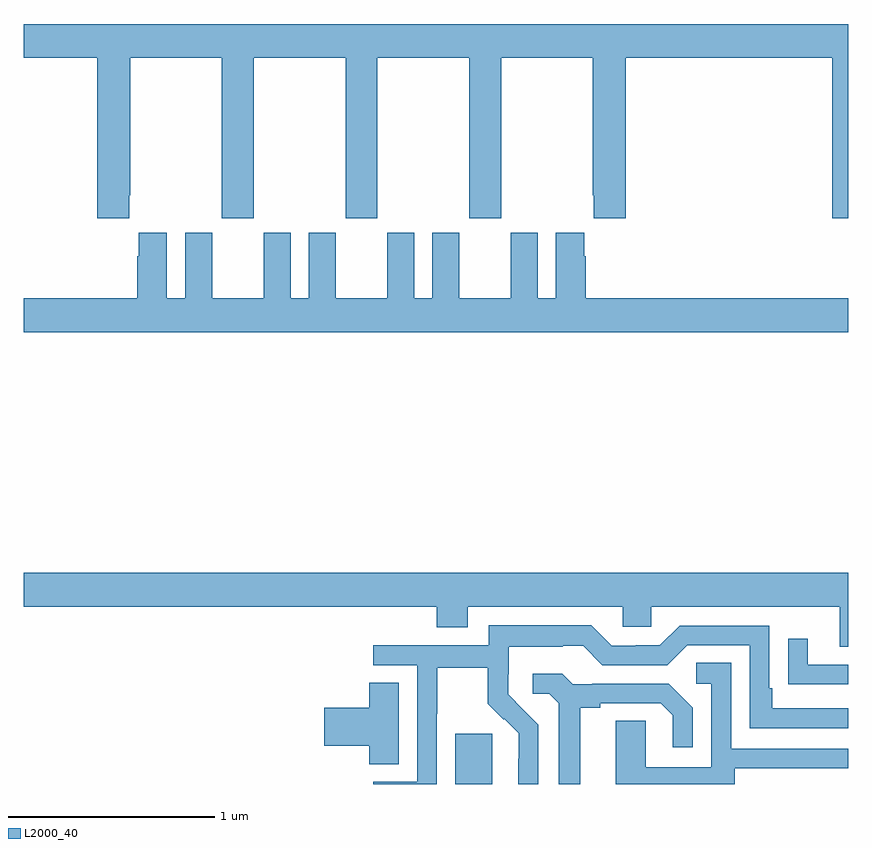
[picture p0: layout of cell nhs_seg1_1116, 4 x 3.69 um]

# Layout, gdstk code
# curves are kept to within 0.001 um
import gdstk
lib = gdstk.Library(unit=1e-6, precision=1e-09)
def R(c, l, rs):  # rectangles x0, y0, x1, y1
    for r in rs: c.add(gdstk.rectangle(r[:2], r[2:], *l))
def P(c, l, *ps):  # polygons
    for p in ps: c.add(gdstk.Polygon(p, *l))
L2000_40 = (2000, 40)

nhs_seg1_1116 = lib.new_cell('nhs_seg1_1116')
R(nhs_seg1_1116, L2000_40, [(173.093,556.199,173.272,556.443)])
P(nhs_seg1_1116, L2000_40, [(171.511,559.057),(171.516,559.057),(171.516,559.724),(171.961,559.724),(171.961,558.945),(172.116,558.945),(172.116,559.724),(172.561,559.724),(172.561,558.945),(172.716,558.945),(172.716,559.724),(173.161,559.724),(173.161,558.945),(173.316,558.945),(173.316,559.724),(173.761,559.724),(173.761,559.057),(173.765,559.057),(173.765,558.945),(173.921,558.945),(173.921,559.724),(174.923,559.724),(174.923,558.945),(175,558.945),(175,559.888),(171,559.888),(171,559.724),(171.356,559.724),(171.356,558.945),(171.511,558.945)],
  [(175,558.556),(173.726,558.556),(173.726,558.761),(173.719,558.761),(173.719,558.874),(173.582,558.874),(173.582,558.556),(173.494,558.556),(173.494,558.874),(173.363,558.874),(173.363,558.556),(173.113,558.556),(173.113,558.874),(172.982,558.874),(172.982,558.556),(172.894,558.556),(172.894,558.874),(172.763,558.874),(172.763,558.556),(172.513,558.556),(172.513,558.874),(172.382,558.874),(172.382,558.556),(172.294,558.556),(172.294,558.874),(172.163,558.874),(172.163,558.556),(171.913,558.556),(171.913,558.874),(171.782,558.874),(171.782,558.556),(171.694,558.556),(171.694,558.874),(171.557,558.874),(171.557,558.761),(171.551,558.761),(171.551,558.556),(171,558.556),(171,558.392),(175,558.392)],
  [(175,557.224),(171,557.224),(171,557.06),(173.003,557.06),(173.003,556.961),(173.155,556.961),(173.155,557.06),(173.907,557.06),(173.907,556.962),(174.045,556.962),(174.045,557.06),(174.959,557.06),(174.959,556.866),(175,556.866)],
  [(173.004,556.54),(173.007,556.54),(173.007,556.764),(173.251,556.764),(173.251,556.589),(173.328,556.512),(173.331,556.515),(173.402,556.445),(173.4,556.199),(173.496,556.199),(173.496,556.486),(173.35,556.634),(173.35,556.731),(173.352,556.731),(173.352,556.865),(173.615,556.865),(173.615,556.869),(173.715,556.869),(173.808,556.776),(174.123,556.776),(174.219,556.872),(174.522,556.872),(174.522,556.47),(175,556.47),(175,556.566),(174.631,556.566),(174.631,556.663),(174.618,556.663),(174.618,556.968),(174.183,556.968),(174.087,556.872),(173.969,556.872),(173.969,556.869),(173.853,556.869),(173.753,556.969),(173.256,556.969),(173.256,556.872),(172.695,556.872),(172.695,556.776),(172.908,556.776),(172.908,556.209),(172.695,556.209),(172.695,556.199),(173.004,556.199)],
  [(175,556.779),(174.805,556.779),(174.805,556.903),(174.709,556.903),(174.709,556.684),(174.811,556.684),(174.811,556.683),(175,556.683)],
  [(174.451,556.275),(175,556.275),(175,556.371),(174.432,556.371),(174.432,556.787),(174.264,556.787),(174.264,556.686),(174.336,556.686),(174.336,556.281),(174.018,556.281),(174.018,556.505),(173.873,556.505),(173.873,556.199),(174.451,556.199)],
  [(173.701,556.568),(173.797,556.568),(173.797,556.59),(174.092,556.59),(174.149,556.533),(174.149,556.377),(174.246,556.377),(174.246,556.57),(174.13,556.686),(173.758,556.686),(173.758,556.683),(173.664,556.683),(173.612,556.735),(173.469,556.735),(173.469,556.638),(173.55,556.638),(173.597,556.591),(173.597,556.199),(173.701,556.199)],
  [(172.819,556.691),(172.676,556.691),(172.676,556.568),(172.458,556.568),(172.458,556.385),(172.676,556.385),(172.676,556.294),(172.819,556.294)])

lib.write_gds('nhs_seg1_1116.gds')
